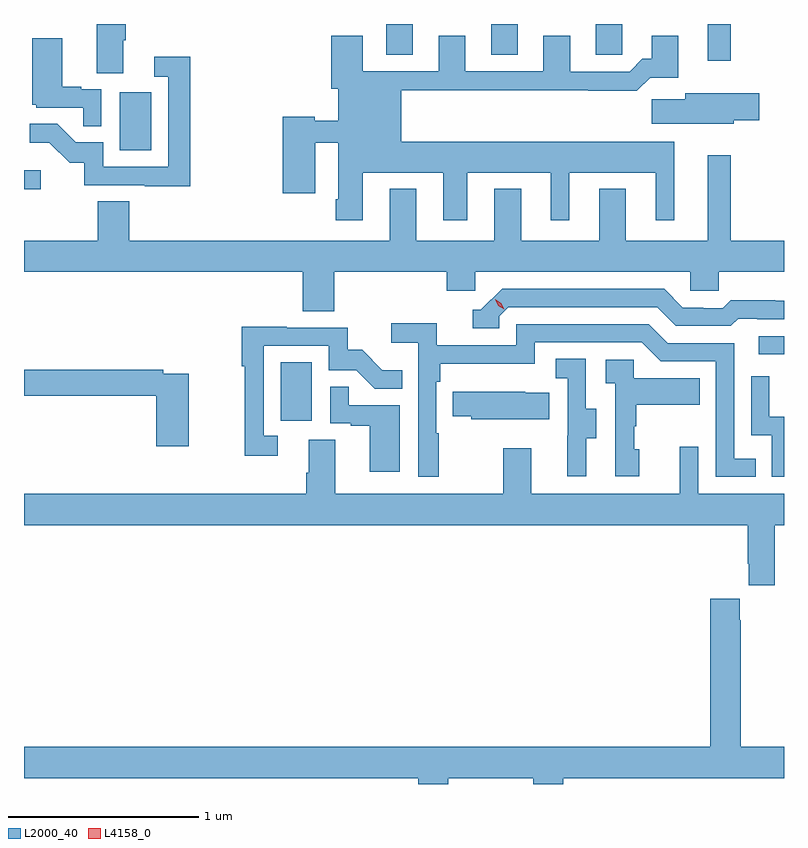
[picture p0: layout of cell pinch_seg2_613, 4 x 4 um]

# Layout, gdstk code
import gdstk
lib = gdstk.Library(unit=1e-6, precision=1e-09)
def R(c, l, rs):  # rectangles x0, y0, x1, y1
    for r in rs: c.add(gdstk.rectangle(r[:2], r[2:], *l))
def P(c, l, *ps):  # polygons
    for p in ps: c.add(gdstk.Polygon(p, *l))
L2000_40 = (2000, 40)
L4158_0 = (4158, 0)

pinch_seg2_613 = lib.new_cell('pinch_seg2_613')
R(pinch_seg2_613, L2000_40, [(1019.798,617.55,1019.962,617.857), (1022.313,617.898,1022.447,617.994), (1018.447,618.766,1018.534,618.868), (1018.952,618.972,1019.116,619.279), (1022.045,619.443,1022.167,619.637), (1020.353,619.474,1020.493,619.637), (1020.905,619.474,1021.045,619.637), (1021.457,619.474,1021.596,619.637)])
P(pinch_seg2_613, L2000_40, [(1018.969,619.552),(1018.982,619.552),(1018.982,619.637),(1018.829,619.637),(1018.829,619.378),(1018.969,619.378)],
  [(1020.229,618.854),(1020.653,618.854),(1020.653,618.603),(1020.781,618.603),(1020.781,618.854),(1021.22,618.854),(1021.22,618.603),(1021.318,618.603),(1021.318,618.854),(1021.772,618.854),(1021.772,618.603),(1021.87,618.603),(1021.87,619.018),(1020.433,619.018),(1020.433,619.288),(1021.417,619.288),(1021.417,619.286),(1021.673,619.286),(1021.742,619.355),(1021.891,619.355),(1021.891,619.576),(1021.751,619.576),(1021.751,619.453),(1021.702,619.453),(1021.635,619.386),(1021.321,619.386),(1021.321,619.576),(1021.181,619.576),(1021.181,619.389),(1020.769,619.389),(1020.769,619.576),(1020.629,619.576),(1020.629,619.389),(1020.229,619.389),(1020.229,619.576),(1020.065,619.576),(1020.065,619.296),(1020.101,619.296),(1020.101,619.129),(1019.976,619.129),(1019.976,619.148),(1019.81,619.148),(1019.81,618.747),(1019.98,618.747),(1019.98,619.012),(1020.101,619.012),(1020.101,618.715),(1020.089,618.715),(1020.089,618.603),(1020.229,618.603)],
  [(1018.854,619.293),(1018.748,619.293),(1018.748,619.306),(1018.648,619.306),(1018.648,619.561),(1018.49,619.561),(1018.49,619.212),(1018.512,619.212),(1018.512,619.197),(1018.759,619.197),(1018.759,619.099),(1018.854,619.099)],
  [(1019.321,619.465),(1019.133,619.465),(1019.133,619.359),(1019.205,619.359),(1019.205,618.885),(1018.863,618.885),(1018.863,619.014),(1018.719,619.014),(1018.621,619.112),(1018.477,619.112),(1018.477,619.013),(1018.581,619.013),(1018.688,618.906),(1018.765,618.906),(1018.765,618.789),(1019.083,618.789),(1019.083,618.784),(1019.321,618.784)],
  [(1022.182,619.13),(1022.317,619.13),(1022.317,619.273),(1021.928,619.273),(1021.928,619.241),(1021.752,619.241),(1021.752,619.112),(1022.182,619.112)],
  [(1020.08,618.332),(1020.671,618.332),(1020.671,618.234),(1020.822,618.234),(1020.822,618.332),(1021.953,618.332),(1021.953,618.234),(1022.103,618.234),(1022.103,618.332),(1022.447,618.332),(1022.447,618.496),(1022.167,618.496),(1022.167,618.946),(1022.045,618.946),(1022.045,618.496),(1021.615,618.496),(1021.615,618.769),(1021.475,618.769),(1021.475,618.496),(1021.063,618.496),(1021.063,618.769),(1020.923,618.769),(1020.923,618.496),(1020.511,618.496),(1020.511,618.769),(1020.371,618.769),(1020.371,618.496),(1019,618.496),(1019,618.704),(1018.835,618.704),(1018.835,618.496),(1018.447,618.496),(1018.447,618.332),(1019.915,618.332),(1019.915,618.124),(1020.08,618.124)],
  [(1020.948,618.099),(1020.996,618.147),(1021.779,618.147),(1021.878,618.048),(1022.167,618.048),(1022.206,618.087),(1022.305,618.087),(1022.305,618.084),(1022.447,618.084),(1022.447,618.181),(1022.4,618.181),(1022.4,618.184),(1022.167,618.184),(1022.125,618.141),(1022.022,618.141),(1022.022,618.144),(1021.915,618.144),(1021.816,618.243),(1020.963,618.243),(1020.852,618.132),(1020.809,618.132),(1020.809,618.036),(1020.948,618.036)],
  [(1020.631,617.483),(1020.618,617.483),(1020.618,617.753),(1020.638,617.753),(1020.638,617.849),(1021.134,617.849),(1021.134,617.961),(1021.698,617.961),(1021.797,617.862),(1022.088,617.862),(1022.088,617.253),(1022.297,617.253),(1022.297,617.349),(1022.184,617.349),(1022.184,617.958),(1021.834,617.958),(1021.735,618.057),(1021.038,618.057),(1021.038,617.946),(1020.62,617.946),(1020.62,618.062),(1020.381,618.062),(1020.381,617.96),(1020.522,617.96),(1020.522,617.253),(1020.631,617.253)],
  [(1019.782,617.469),(1019.709,617.469),(1019.709,617.943),(1020.051,617.943),(1020.051,617.814),(1020.195,617.814),(1020.293,617.716),(1020.437,617.716),(1020.437,617.815),(1020.333,617.815),(1020.226,617.922),(1020.15,617.922),(1020.15,618.039),(1019.831,618.039),(1019.831,618.044),(1019.593,618.044),(1019.593,617.836),(1019.608,617.836),(1019.608,617.364),(1019.782,617.364)],
  [(1021.405,617.458),(1021.459,617.458),(1021.459,617.613),(1021.404,617.613),(1021.404,617.876),(1021.245,617.876),(1021.245,617.773),(1021.308,617.773),(1021.308,617.469),(1021.307,617.469),(1021.307,617.256),(1021.405,617.256)],
  [(1021.684,617.4),(1021.659,617.4),(1021.659,617.519),(1021.669,617.519),(1021.669,617.633),(1022.003,617.633),(1022.003,617.773),(1021.656,617.773),(1021.656,617.871),(1021.509,617.871),(1021.509,617.747),(1021.56,617.747),(1021.56,617.256),(1021.684,617.256)],
  [(1019.314,617.796),(1019.18,617.796),(1019.18,617.816),(1018.447,617.816),(1018.447,617.68),(1019.144,617.68),(1019.144,617.415),(1019.314,617.415)],
  [(1022.447,617.57),(1022.37,617.57),(1022.37,617.782),(1022.274,617.782),(1022.274,617.472),(1022.382,617.472),(1022.382,617.253),(1022.447,617.253)],
  [(1020.424,617.631),(1020.155,617.631),(1020.155,617.729),(1020.06,617.729),(1020.06,617.535),(1020.167,617.535),(1020.167,617.523),(1020.266,617.523),(1020.266,617.28),(1020.424,617.28)],
  [(1021.211,617.695),(1021.086,617.695),(1021.086,617.701),(1020.703,617.701),(1020.703,617.572),(1020.801,617.572),(1020.801,617.558),(1021.211,617.558)],
  [(1022.398,617),(1022.447,617),(1022.447,617.164),(1021.995,617.164),(1021.995,617.413),(1021.898,617.413),(1021.898,617.164),(1021.117,617.164),(1021.117,617.404),(1020.97,617.404),(1020.97,617.164),(1020.085,617.164),(1020.085,617.45),(1019.945,617.45),(1019.945,617.276),(1019.933,617.276),(1019.933,617.164),(1018.447,617.164),(1018.447,617),(1022.255,617),(1022.255,616.795),(1022.261,616.795),(1022.261,616.683),(1022.398,616.683)],
  [(1020.681,615.668),(1021.126,615.668),(1021.126,615.637),(1021.286,615.637),(1021.286,615.668),(1022.447,615.668),(1022.447,615.832),(1022.22,615.832),(1022.22,616.499),(1022.215,616.499),(1022.215,616.612),(1022.06,616.612),(1022.06,615.832),(1018.447,615.832),(1018.447,615.668),(1020.521,615.668),(1020.521,615.637),(1020.681,615.637)])
P(pinch_seg2_613, L4158_0, [(1020.974,618.135),(1020.944,618.155),(1020.928,618.187),(1020.928,618.188),(1020.928,618.188),(1020.959,618.168),(1020.975,618.135),(1020.975,618.135)])

lib.write_gds('pinch_seg2_613.gds')
